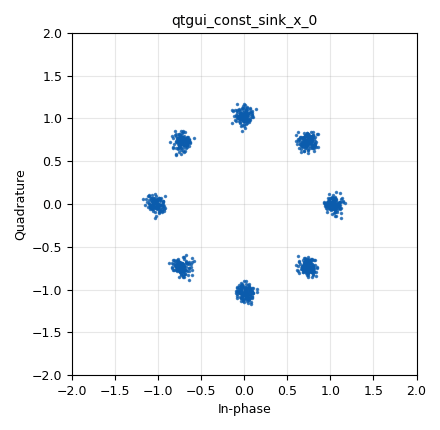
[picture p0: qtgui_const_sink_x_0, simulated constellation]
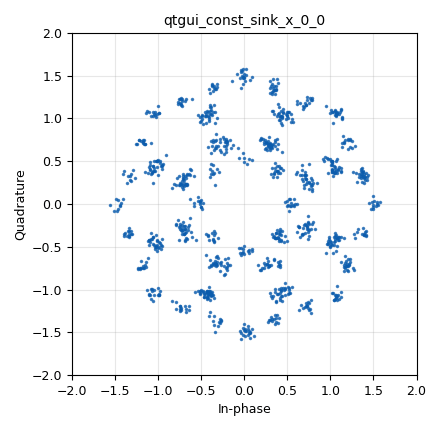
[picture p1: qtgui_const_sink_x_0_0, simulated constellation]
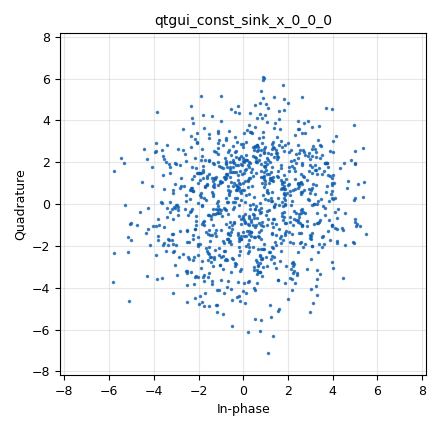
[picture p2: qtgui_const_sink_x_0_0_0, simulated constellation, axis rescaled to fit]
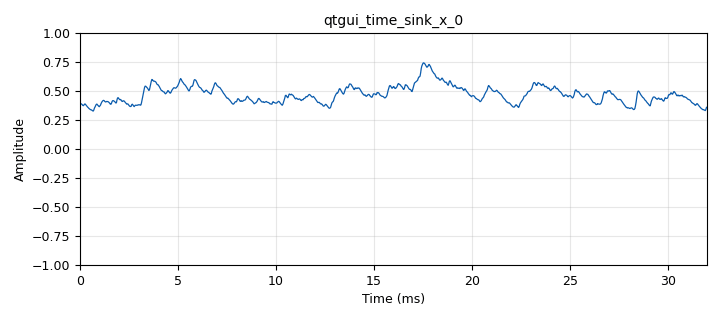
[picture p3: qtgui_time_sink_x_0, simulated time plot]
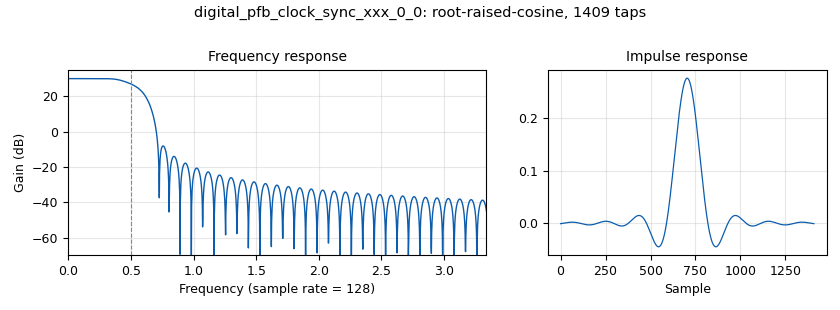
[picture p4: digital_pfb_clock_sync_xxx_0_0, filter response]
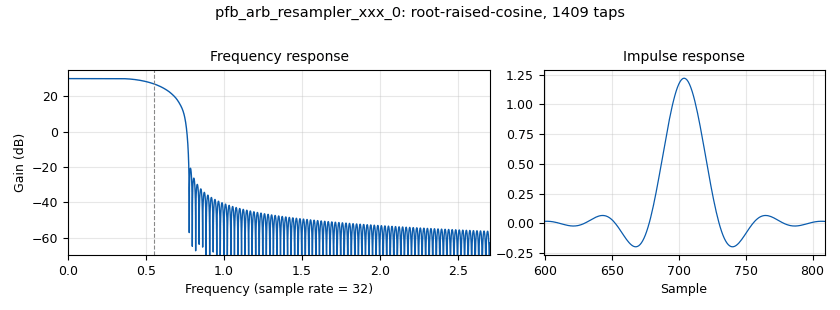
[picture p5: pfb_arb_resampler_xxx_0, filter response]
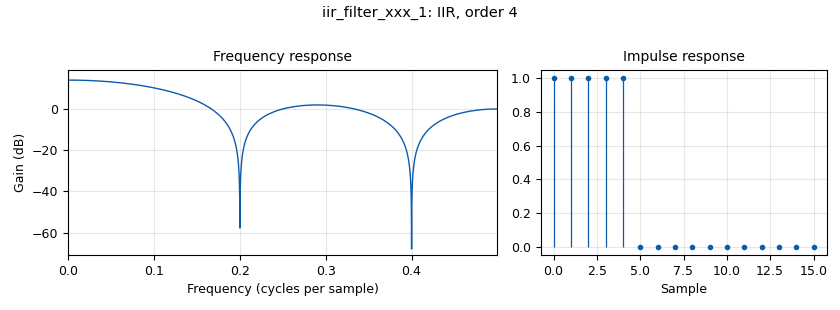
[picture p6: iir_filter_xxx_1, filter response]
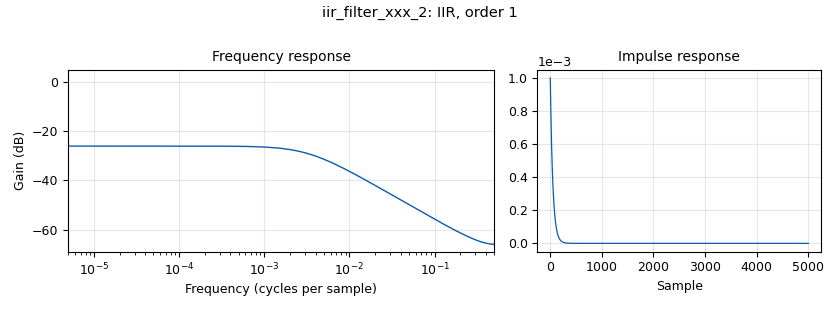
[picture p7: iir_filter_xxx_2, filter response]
options:
  parameters:
    author: Prasann
    generate_options: qt_gui
    id: task2_3
    output_language: python
    title: Task2-3
  states: {}

blocks:
- name: nfilts
  id: variable
  parameters:
    value: '32'
  states: {}
- name: ntaps
  id: variable
  parameters:
    value: 11*nfilts*sps
  states: {}
- name: rx_taps
  id: variable
  parameters:
    value: firdes.root_raised_cosine(nfilts,nfilts*sps,1.0,0.4,ntaps)
  states: {}
- name: samp_rate
  id: variable
  parameters:
    value: '32000'
  states: {}
- name: sps
  id: variable
  parameters:
    value: '4'
  states: {}
- name: tap1
  id: variable_qtgui_range
  parameters:
    label: Tap1
    orient: Qt.Horizontal
    start: '-1'
    step: '0.00001'
    stop: '1'
    value: '1'
  states: {}
- name: tap2
  id: variable_qtgui_range
  parameters:
    label: Tap2
    orient: Qt.Horizontal
    start: '-1'
    step: '0.00001'
    stop: '1'
    value: '1'
  states: {}
- name: tap3
  id: variable_qtgui_range
  parameters:
    label: Tap3
    orient: Qt.Horizontal
    start: '-1'
    step: '0.00001'
    stop: '1'
    value: '1'
  states: {}
- name: tap4
  id: variable_qtgui_range
  parameters:
    label: Tap4
    orient: Qt.Horizontal
    start: '-1'
    step: '0.00001'
    stop: '1'
    value: '1'
  states: {}
- name: timing_bw
  id: variable
  parameters:
    value: 2*pi/100
  states: {}
- name: tx_taps
  id: variable
  parameters:
    value: firdes.root_raised_cosine(nfilts,nfilts,1.1,0.4,ntaps)
  states: {}
- name: analog_noise_source_x_0
  id: analog_noise_source_x
  parameters:
    amp: '0.05'
    noise_type: analog.GR_GAUSSIAN
    seed: '0'
    type: complex
  states: {}
- name: analog_random_source_x_0
  id: analog_random_source_x
  parameters:
    max: '8'
    min: '0'
    num_samps: '1000'
    repeat: 'True'
    type: byte
  states: {}
- name: blocks_abs_xx_0
  id: blocks_abs_xx
  parameters:
    type: float
  states: {}
- name: blocks_add_const_vxx_0
  id: blocks_add_const_vxx
  parameters:
    const: '-1'
    type: float
  states: {}
- name: blocks_add_xx_0
  id: blocks_add_xx
  parameters:
    type: complex
  states: {}
- name: blocks_add_xx_0_0_0
  id: blocks_add_xx
  parameters:
    type: complex
  states: {}
- name: blocks_complex_to_mag_squared_0
  id: blocks_complex_to_mag_squared
  parameters: {}
  states: {}
- name: blocks_delay_0_0
  id: blocks_delay
  parameters:
    delay: '1'
    type: complex
  states: {}
- name: blocks_multiply_const_vxx_0_0
  id: blocks_multiply_const_vxx
  parameters:
    const: '0.5'
    type: complex
  states: {}
- name: blocks_throttle_0
  id: blocks_throttle
  parameters:
    samples_per_second: samp_rate
    type: complex
  states: {}
- name: blocks_throttle_0_0
  id: blocks_throttle
  parameters:
    samples_per_second: samp_rate
    type: complex
  states: {}
- name: blocks_throttle_0_0_0
  id: blocks_throttle
  parameters:
    samples_per_second: samp_rate
    type: complex
  states: {}
- name: blocks_throttle_0_0_1
  id: blocks_throttle
  parameters:
    samples_per_second: samp_rate
    type: float
  states: {}
- name: digital_chunks_to_symbols_xx_0
  id: digital_chunks_to_symbols_xx
  parameters:
    dimension: '1'
    in_type: byte
    out_type: complex
    symbol_table: ((-0.707-0.707j),(-1-0j),(-0.707+0.707j),(0+1j),(0.707+0.707j),(1+0j),(0.707-0.707j),(0-1j))
  states: {}
- name: digital_pfb_clock_sync_xxx_0_0
  id: digital_pfb_clock_sync_xxx
  parameters:
    filter_size: '32'
    init_phase: '16'
    loop_bw: timing_bw
    max_dev: '1.5'
    osps: '1'
    sps: sps
    taps: rx_taps
    type: ccf
  states: {}
- name: iir_filter_xxx_1
  id: iir_filter_xxx
  parameters:
    fbtaps: '1'
    fftaps: '[1,tap1, tap2, tap3, tap4]'
    type: ccf
  states: {}
- name: iir_filter_xxx_2
  id: iir_filter_xxx
  parameters:
    fbtaps: '[1,0.98]'
    fftaps: '[0.001]'
    type: ffd
  states: {}
- name: import_0
  id: import
  parameters:
    imports: from math import pi as pi
  states: {}
- name: import_1
  id: import
  parameters:
    imports: from gnuradio import digital
  states: {}
- name: import_2
  id: import
  parameters:
    imports: from gnuradio.filter import firdes
  states: {}
- name: pfb_arb_resampler_xxx_0
  id: pfb_arb_resampler_xxx
  parameters:
    atten: '100'
    nfilts: '32'
    rrate: sps
    taps: tx_taps
    type: ccf
  states: {}
- name: qtgui_const_sink_x_0
  id: qtgui_const_sink_x
  parameters:
    gui_hint: tab@0
    size: '1024'
    type: complex
  states: {}
- name: qtgui_const_sink_x_0_0
  id: qtgui_const_sink_x
  parameters:
    gui_hint: tab@1
    size: '1024'
    type: complex
  states: {}
- name: qtgui_const_sink_x_0_0_0
  id: qtgui_const_sink_x
  parameters:
    gui_hint: tab@2
    size: '1024'
    type: complex
  states: {}
- name: qtgui_time_sink_x_0
  id: qtgui_time_sink_x
  parameters:
    gui_hint: tab@3
    size: '1024'
    srate: samp_rate
    type: float
  states: {}
- name: tab
  id: qtgui_tab_widget
  parameters:
    label0: Before Multipath, with noise
    label1: After Multipath, with noise
    label2: After Equalizer
    label3: Error
    num_tabs: '4'
  states: {}

connections:
- [analog_noise_source_x_0, '0', blocks_add_xx_0, '1']
- [analog_random_source_x_0, '0', digital_chunks_to_symbols_xx_0, '0']
- [blocks_abs_xx_0, '0', iir_filter_xxx_2, '0']
- [blocks_add_const_vxx_0, '0', blocks_abs_xx_0, '0']
- [blocks_add_xx_0, '0', blocks_add_xx_0_0_0, '0']
- [blocks_add_xx_0, '0', blocks_delay_0_0, '0']
- [blocks_add_xx_0, '0', blocks_throttle_0, '0']
- [blocks_add_xx_0_0_0, '0', blocks_throttle_0_0, '0']
- [blocks_add_xx_0_0_0, '0', iir_filter_xxx_1, '0']
- [blocks_complex_to_mag_squared_0, '0', blocks_add_const_vxx_0, '0']
- [blocks_delay_0_0, '0', blocks_multiply_const_vxx_0_0, '0']
- [blocks_multiply_const_vxx_0_0, '0', blocks_add_xx_0_0_0, '1']
- [blocks_throttle_0, '0', qtgui_const_sink_x_0, '0']
- [blocks_throttle_0_0, '0', qtgui_const_sink_x_0_0, '0']
- [blocks_throttle_0_0_0, '0', qtgui_const_sink_x_0_0_0, '0']
- [blocks_throttle_0_0_1, '0', qtgui_time_sink_x_0, '0']
- [digital_chunks_to_symbols_xx_0, '0', pfb_arb_resampler_xxx_0, '0']
- [digital_pfb_clock_sync_xxx_0_0, '0', blocks_add_xx_0, '0']
- [iir_filter_xxx_1, '0', blocks_complex_to_mag_squared_0, '0']
- [iir_filter_xxx_1, '0', blocks_throttle_0_0_0, '0']
- [iir_filter_xxx_2, '0', blocks_throttle_0_0_1, '0']
- [pfb_arb_resampler_xxx_0, '0', digital_pfb_clock_sync_xxx_0_0, '0']

metadata:
  file_format: 1
